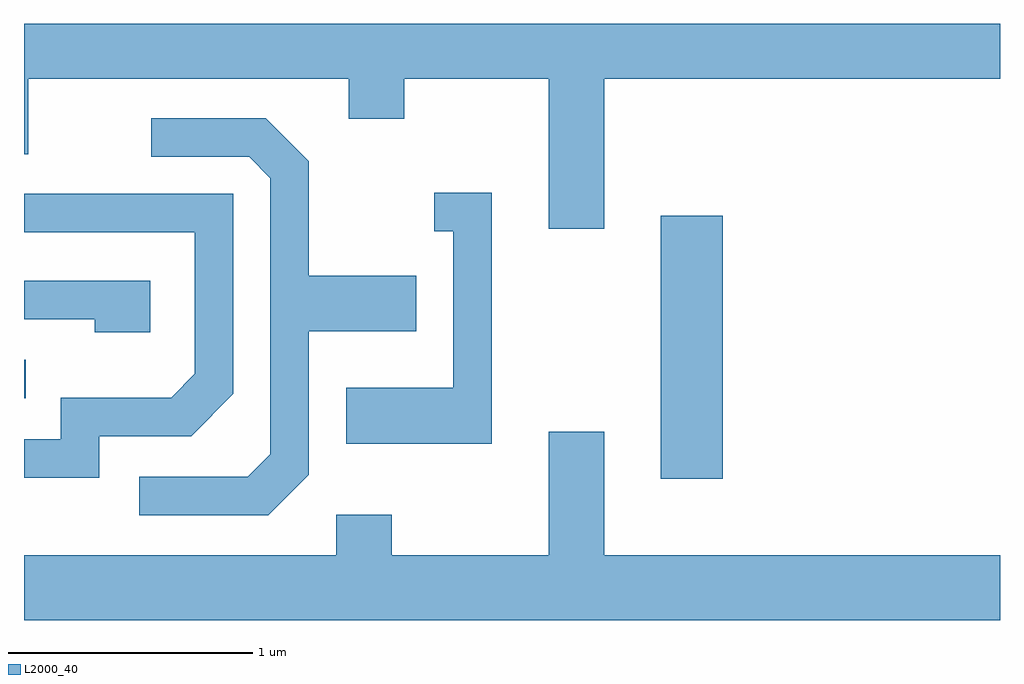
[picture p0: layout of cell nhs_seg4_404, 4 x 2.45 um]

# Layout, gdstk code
import gdstk
lib = gdstk.Library(unit=1e-6, precision=1e-09)
def R(c, l, rs):  # rectangles x0, y0, x1, y1
    for r in rs: c.add(gdstk.rectangle(r[:2], r[2:], *l))
def P(c, l, *ps):  # polygons
    for p in ps: c.add(gdstk.Polygon(p, *l))
L2000_40 = (2000, 40)

nhs_seg4_404 = lib.new_cell('nhs_seg4_404')
R(nhs_seg4_404, L2000_40, [(198.221,1384.116,198.474,1385.194), (195.611,1384.446,195.618,1384.604)])
P(nhs_seg4_404, L2000_40, [(197.989,1385.756),(199.611,1385.756),(199.611,1385.982),(195.611,1385.982),(195.611,1385.446),(195.629,1385.446),(195.629,1385.756),(196.941,1385.756),(196.941,1385.591),(197.169,1385.591),(197.169,1385.756),(197.761,1385.756),(197.761,1385.141),(197.989,1385.141)],
  [(196.779,1384.134),(196.779,1384.721),(197.219,1384.721),(197.219,1384.949),(196.779,1384.949),(196.779,1385.417),(196.602,1385.594),(196.133,1385.594),(196.133,1385.436),(196.534,1385.436),(196.621,1385.349),(196.621,1384.217),(196.529,1384.124),(196.083,1384.124),(196.083,1383.966),(196.612,1383.966)],
  [(197.529,1385.289),(197.293,1385.289),(197.293,1385.131),(197.371,1385.131),(197.371,1384.489),(196.931,1384.489),(196.931,1384.261),(197.529,1384.261)],
  [(195.919,1384.291),(196.297,1384.291),(196.469,1384.464),(196.469,1385.284),(195.611,1385.284),(195.611,1385.126),(196.311,1385.126),(196.311,1384.547),(196.214,1384.449),(195.761,1384.449),(195.761,1384.279),(195.611,1384.279),(195.611,1384.121),(195.919,1384.121)],
  [(196.129,1384.929),(195.611,1384.929),(195.611,1384.771),(195.901,1384.771),(195.901,1384.716),(196.129,1384.716)],
  [(199.611,1383.804),(197.989,1383.804),(197.989,1384.309),(197.761,1384.309),(197.761,1383.804),(197.119,1383.804),(197.119,1383.969),(196.891,1383.969),(196.891,1383.804),(195.611,1383.804),(195.611,1383.536),(199.611,1383.536)])

lib.write_gds('nhs_seg4_404.gds')
